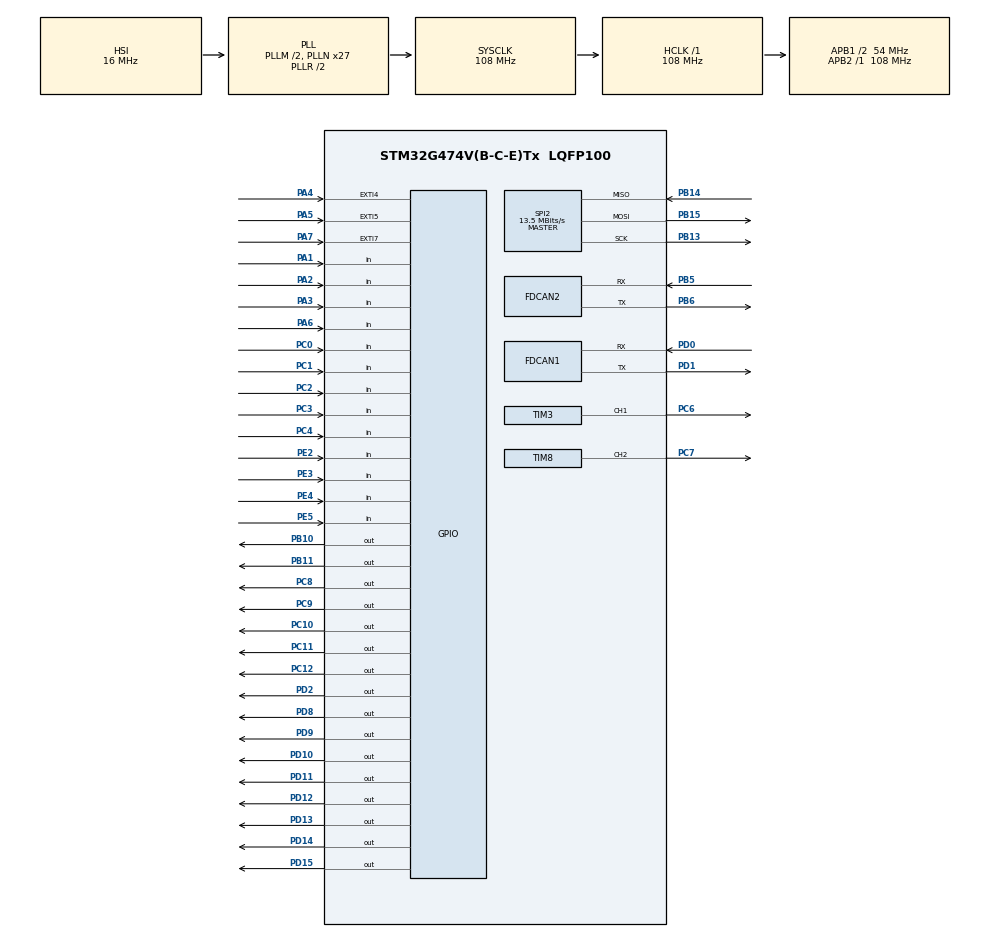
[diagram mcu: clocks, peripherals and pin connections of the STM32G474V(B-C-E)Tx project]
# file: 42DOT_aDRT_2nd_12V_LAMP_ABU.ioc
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FDCAN1.NominalPrescaler=6
FDCAN1.NominalTimeSeg1=15
FDCAN1.StdFiltersNbr=0
FDCAN2.NominalPrescaler=6
FDCAN2.NominalTimeSeg1=15
FDCAN2.StdFiltersNbr=1
Mcu.Family=STM32G4
Mcu.Name=STM32G474V(B-C-E)Tx
Mcu.Package=LQFP100
NVIC.FDCAN1_IT0_IRQn=true\:0\:0\:false\:false\:true\:true\:true
NVIC.FDCAN1_IT1_IRQn=true\:0\:0\:false\:false\:true\:true\:true
NVIC.FDCAN2_IT0_IRQn=true\:0\:0\:false\:false\:true\:true\:true
NVIC.PriorityGroup=NVIC_PRIORITYGROUP_4
NVIC.RTC_WKUP_IRQn=true\:0\:0\:false\:false\:true\:true\:true
NVIC.SPI2_IRQn=true\:1\:0\:true\:false\:true\:true\:true
NVIC.TIM6_DAC_IRQn=true\:1\:0\:true\:false\:true\:true\:true
PA1.Signal=GPIO_Input
PA13.Mode=JTAG_4_pins
PA13.Signal=SYS_JTMS-SWDIO
PA14.Mode=JTAG_4_pins
PA14.Signal=SYS_JTCK-SWCLK
PA15.Mode=JTAG_4_pins
PA15.Signal=SYS_JTDI
PA2.Signal=GPIO_Input
PA3.Signal=GPIO_Input
PA4.GPIO_ModeDefaultEXTI=GPIO_MODE_EVT_RISING_FALLING
PA4.Signal=GPXTI4
PA5.GPIO_ModeDefaultEXTI=GPIO_MODE_EVT_RISING_FALLING
PA5.Signal=GPXTI5
PA6.Signal=GPIO_Input
PA7.GPIO_ModeDefaultEXTI=GPIO_MODE_EVT_RISING
PA7.Signal=GPXTI7
PB10.Signal=GPIO_Output
PB11.Signal=GPIO_Output
PB13.Mode=Full_Duplex_Master
PB13.Signal=SPI2_SCK
PB14.Mode=Full_Duplex_Master
PB14.Signal=SPI2_MISO
PB15.Mode=Full_Duplex_Master
PB15.Signal=SPI2_MOSI
PB3.Mode=JTAG_4_pins
PB3.Signal=SYS_JTDO-SWO
PB5.Mode=FDCAN_Activate
PB5.Signal=FDCAN2_RX
PB6.Mode=FDCAN_Activate
PB6.Signal=FDCAN2_TX
PC0.Signal=GPIO_Input
PC1.Signal=GPIO_Input
PC10.Signal=GPIO_Output
PC11.Signal=GPIO_Output
PC12.Signal=GPIO_Output
PC2.Signal=GPIO_Input
PC3.Signal=GPIO_Input
PC4.Signal=GPIO_Input
PC6.Signal=S_TIM3_CH1
PC7.Signal=S_TIM8_CH2
PC8.Signal=GPIO_Output
PC9.Signal=GPIO_Output
PD0.Mode=FDCAN_Activate
PD0.Signal=FDCAN1_RX
PD1.Mode=FDCAN_Activate
PD1.Signal=FDCAN1_TX
PD10.Signal=GPIO_Output
PD11.Signal=GPIO_Output
PD12.Signal=GPIO_Output
PD13.Signal=GPIO_Output
PD14.Signal=GPIO_Output
PD15.Signal=GPIO_Output
PD2.Signal=GPIO_Output
PD8.Signal=GPIO_Output
PD9.Signal=GPIO_Output
PE2.Signal=GPIO_Input
PE3.Signal=GPIO_Input
PE4.Signal=GPIO_Input
PE5.Signal=GPIO_Input
ProjectManager.HeapSize=0x200
ProjectManager.StackSize=0x400
ProjectManager.TargetToolchain=STM32CubeIDE
RCC.ADC12Freq_Value=108000000
RCC.ADC345Freq_Value=108000000
RCC.AHBFreq_Value=108000000
RCC.APB1CLKDivider=RCC_HCLK_DIV2
RCC.APB1Freq_Value=54000000
RCC.APB1TimFreq_Value=108000000
RCC.APB2Freq_Value=108000000
RCC.APB2TimFreq_Value=108000000
RCC.CortexFreq_Value=108000000
RCC.EXTERNAL_CLOCK_VALUE=12288000
RCC.HCLKFreq_Value=108000000
RCC.HSE_VALUE=8000000
RCC.HSI48_VALUE=48000000
RCC.HSI_VALUE=16000000
RCC.LSE_VALUE=32768
RCC.PLLM=RCC_PLLM_DIV2
RCC.PLLN=27
RCC.SYSCLKFreq_VALUE=108000000
RCC.SYSCLKSource=RCC_SYSCLKSOURCE_PLLCLK
RCC.USBFreq_Value=108000000
RCC.VCOOutputFreq_Value=216000000
SH.S_TIM3_CH1.0=TIM3_CH1,PWM Generation1 CH1
SH.S_TIM8_CH2.0=TIM8_CH2,PWM Generation2 CH2
SPI2.BaudRatePrescaler=SPI_BAUDRATEPRESCALER_4
SPI2.CLKPhase=SPI_PHASE_2EDGE
SPI2.CalculateBaudRate=13.5 MBits/s
SPI2.DataSize=SPI_DATASIZE_16BIT
SPI2.Direction=SPI_DIRECTION_2LINES
SPI2.Mode=SPI_MODE_MASTER
SPI2.VirtualType=VM_MASTER
TIM3.Channel-PWM\ Generation1\ CH1=TIM_CHANNEL_1
TIM3.PeriodNoDither=1000-1
TIM3.Prescaler=14000-1
TIM3.PulseNoDither_1=500
TIM6.PeriodNoDither=200-1
TIM6.Prescaler=1080-1
TIM8.Channel-PWM\ Generation2\ CH2=TIM_CHANNEL_2
TIM8.PeriodNoDither=1000-1
TIM8.Prescaler=14000-1
TIM8.PulseNoDither_2=500
VP_RTC_VS_RTC_Activate.Mode=RTC_Enabled
VP_RTC_VS_RTC_WakeUp_intern.Mode=WakeUp
VP_SYS_VS_DBSignals.Mode=DisableDeadBatterySignals
VP_TIM6_VS_ClockSourceINT.Mode=Enable_Timer
board=custom

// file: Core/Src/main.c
/* USER CODE BEGIN Header */
/**
  ******************************************************************************
  * @file           : main.c
  * @brief          : Main program body
  ******************************************************************************
  * @attention
  *
  * <h2><center>&copy; Copyright (c) 2021 STMicroelectronics.
  * All rights reserved.</center></h2>
  *
  * This software component is licensed by ST under BSD 3-Clause license,
  * the "License"; You may not use this file except in compliance with the
  * License. You may obtain a copy of the License at:
  *                        opensource.org/licenses/BSD-3-Clause
  *
  ******************************************************************************
  */
/* USER CODE END Header */
#include "main.h"

/* USER CODE BEGIN PD */
#define ADC_DUMMY               0
#define SPI_TIMEOUT_CNT			100

#define ADC_CH1_ENABLE			0xC0
#define ADC_CH2_ENABLE			0xC4
#define ADC_CH3_ENABLE			0xC8
#define ADC_CH4_ENABLE			0xCC

/* USER CODE END PD */

FDCAN_HandleTypeDef hfdcan1;
FDCAN_HandleTypeDef hfdcan2;

RTC_HandleTypeDef hrtc;

SPI_HandleTypeDef hspi2;

TIM_HandleTypeDef htim3;
TIM_HandleTypeDef htim6;
TIM_HandleTypeDef htim8;

/* USER CODE BEGIN PV */
FDCAN_FilterTypeDef can1_filter;
FDCAN_FilterTypeDef can2_filter;

uint8_t spi2_rx_data[8];
uint8_t spi2_tx_data[8];

/* USER CODE END PV */

void SystemClock_Config(void);
static void MX_GPIO_Init(void);
static void MX_TIM6_Init(void);
static void MX_TIM3_Init(void);
static void MX_SPI2_Init(void);
static void MX_TIM8_Init(void);
static void MX_RTC_Init(void);
static void MX_FDCAN1_Init(void);
static void MX_FDCAN2_Init(void);

/* USER CODE BEGIN 0 */
uint8_t torque_air_data[8];		// ? SSibal

/* USER CODE END 0 */

int main(void)
{

  /* MCU Configuration--------------------------------------------------------*/

  /* Reset of all peripherals, Initializes the Flash interface and the Systick. */
  HAL_Init();

  /* Configure the system clock */
  SystemClock_Config();

  /* Initialize all configured peripherals */
  MX_GPIO_Init();
  MX_TIM6_Init();
  MX_TIM3_Init();
  MX_SPI2_Init();
  MX_TIM8_Init();
  MX_RTC_Init();
  MX_FDCAN1_Init();
  MX_FDCAN2_Init();

  /* USER CODE BEGIN 2 */
  HAL_GPIO_WritePin(GPIOB, GPIO_PIN_11, SET);		// SET /RST(ADC IC) 1 (Deactivate)
  HAL_TIM_Base_Start_IT(&htim6);

  romdata = *((__IO uint32_t*)(FlashRead(FLASH_START_ADDR_CNT, 0)));

//  HAL_GPIO_WritePin(GPIOD, GPIO_PIN_2, SET);
//  convertor_status = 1;
  /* USER CODE END 2 */

  /* Infinite loop */
  /* USER CODE BEGIN WHILE */
  while (1)
  {
	  if( stop_enable == 1 ) {
		  stop_enable = 0;
		  StopModeStart();

	  }

    /* USER CODE END WHILE */

  }
}

void SystemClock_Config(void)
{
  RCC_OscInitTypeDef RCC_OscInitStruct = {0};
  RCC_ClkInitTypeDef RCC_ClkInitStruct = {0};
  RCC_PeriphCLKInitTypeDef PeriphClkInit = {0};

  /** Configure the main internal regulator output voltage
  */
  HAL_PWREx_ControlVoltageScaling(PWR_REGULATOR_VOLTAGE_SCALE1);
  /** Initializes the RCC Oscillators according to the specified parameters
  * in the RCC_OscInitTypeDef structure.
  */
  RCC_OscInitStruct.OscillatorType = RCC_OSCILLATORTYPE_HSI|RCC_OSCILLATORTYPE_LSI;
  RCC_OscInitStruct.HSIState = RCC_HSI_ON;
  RCC_OscInitStruct.HSICalibrationValue = RCC_HSICALIBRATION_DEFAULT;
  RCC_OscInitStruct.LSIState = RCC_LSI_ON;
  RCC_OscInitStruct.PLL.PLLState = RCC_PLL_ON;
  RCC_OscInitStruct.PLL.PLLSource = RCC_PLLSOURCE_HSI;
  RCC_OscInitStruct.PLL.PLLM = RCC_PLLM_DIV2;
  RCC_OscInitStruct.PLL.PLLN = 27;
  RCC_OscInitStruct.PLL.PLLP = RCC_PLLP_DIV2;
  RCC_OscInitStruct.PLL.PLLQ = RCC_PLLQ_DIV2;
  RCC_OscInitStruct.PLL.PLLR = RCC_PLLR_DIV2;
  if (HAL_RCC_OscConfig(&RCC_OscInitStruct) != HAL_OK)
  {
    Error_Handler();
  }
  /** Initializes the CPU, AHB and APB buses clocks
  */
  RCC_ClkInitStruct.ClockType = RCC_CLOCKTYPE_HCLK|RCC_CLOCKTYPE_SYSCLK
                              |RCC_CLOCKTYPE_PCLK1|RCC_CLOCKTYPE_PCLK2;
  RCC_ClkInitStruct.SYSCLKSource = RCC_SYSCLKSOURCE_PLLCLK;
  RCC_ClkInitStruct.AHBCLKDivider = RCC_SYSCLK_DIV1;
  RCC_ClkInitStruct.APB1CLKDivider = RCC_HCLK_DIV2;
  RCC_ClkInitStruct.APB2CLKDivider = RCC_HCLK_DIV1;

  if (HAL_RCC_ClockConfig(&RCC_ClkInitStruct, FLASH_LATENCY_3) != HAL_OK)
  {
    Error_Handler();
  }
  /** Initializes the peripherals clocks
  */
  PeriphClkInit.PeriphClockSelection = RCC_PERIPHCLK_RTC|RCC_PERIPHCLK_FDCAN;
  PeriphClkInit.FdcanClockSelection = RCC_FDCANCLKSOURCE_PCLK1;
  PeriphClkInit.RTCClockSelection = RCC_RTCCLKSOURCE_LSI;
  if (HAL_RCCEx_PeriphCLKConfig(&PeriphClkInit) != HAL_OK)
  {
    Error_Handler();
  }
}

static void MX_FDCAN1_Init(void)
{

  hfdcan1.Instance = FDCAN1;
  hfdcan1.Init.ClockDivider = FDCAN_CLOCK_DIV1;
  hfdcan1.Init.FrameFormat = FDCAN_FRAME_CLASSIC;
  hfdcan1.Init.Mode = FDCAN_MODE_NORMAL;
  hfdcan1.Init.AutoRetransmission = DISABLE;
  hfdcan1.Init.TransmitPause = DISABLE;
  hfdcan1.Init.ProtocolException = DISABLE;
  hfdcan1.Init.NominalPrescaler = 6;
  hfdcan1.Init.NominalSyncJumpWidth = 1;
  hfdcan1.Init.NominalTimeSeg1 = 15;
  hfdcan1.Init.NominalTimeSeg2 = 2;
  hfdcan1.Init.DataPrescaler = 1;
  hfdcan1.Init.DataSyncJumpWidth = 1;
  hfdcan1.Init.DataTimeSeg1 = 1;
  hfdcan1.Init.DataTimeSeg2 = 1;
  hfdcan1.Init.StdFiltersNbr = 0;
  hfdcan1.Init.ExtFiltersNbr = 0;
  hfdcan1.Init.TxFifoQueueMode = FDCAN_TX_FIFO_OPERATION;
  if (HAL_FDCAN_Init(&hfdcan1) != HAL_OK)
  {
    Error_Handler();
  }
  /* USER CODE BEGIN FDCAN1_Init 2 */

  can1_filter.IdType = FDCAN_STANDARD_ID;
  can1_filter.FilterType = FDCAN_FILTER_MASK;
  can1_filter.FilterIndex = 0;
  can1_filter.FilterID1 = 0x000;
  can1_filter.FilterID2 = 0x7FF;
  can1_filter.FilterConfig = FDCAN_FILTER_TO_RXFIFO0;

  if( HAL_FDCAN_ConfigFilter(&hfdcan1, &can1_filter) != HAL_OK ) {
	  Error_Handler();
  }
#if 0
  if(HAL_FDCAN_ConfigGlobalFilter(&hfdcan1, FDCAN_REJECT, FDCAN_REJECT, FDCAN_FILTER_REMOTE, FDCAN_FILTER_REMOTE) != HAL_OK) {
	  Error_Handler();
  }
#else
#if 0
  if( HAL_FDCAN_ActivateNotification(&hfdcan1, FDCAN_INTERRUPT_LINE0, FDCAN_TX_BUFFER0 | FDCAN_TX_BUFFER1 | FDCAN_TX_BUFFER2) != HAL_OK ) {
 	  Error_Handler();
   }
#endif
#endif

  if( HAL_FDCAN_ActivateNotification(&hfdcan1, FDCAN_IT_RX_FIFO0_NEW_MESSAGE, 0) != HAL_OK ) {
	  Error_Handler();
  }

  if( HAL_FDCAN_Start(&hfdcan1) != HAL_OK ) {
	  Error_Handler();
  }

  /* USER CODE END FDCAN1_Init 2 */

}

static void MX_FDCAN2_Init(void)
{

  hfdcan2.Instance = FDCAN2;
  hfdcan2.Init.FrameFormat = FDCAN_FRAME_CLASSIC;
  hfdcan2.Init.Mode = FDCAN_MODE_NORMAL;
  hfdcan2.Init.AutoRetransmission = DISABLE;
  hfdcan2.Init.TransmitPause = DISABLE;
  hfdcan2.Init.ProtocolException = DISABLE;
  hfdcan2.Init.NominalPrescaler = 6;
  hfdcan2.Init.NominalSyncJumpWidth = 1;
  hfdcan2.Init.NominalTimeSeg1 = 15;
  hfdcan2.Init.NominalTimeSeg2 = 2;
  hfdcan2.Init.DataPrescaler = 1;
  hfdcan2.Init.DataSyncJumpWidth = 1;
  hfdcan2.Init.DataTimeSeg1 = 1;
  hfdcan2.Init.DataTimeSeg2 = 1;
  hfdcan2.Init.StdFiltersNbr = 1;
  hfdcan2.Init.ExtFiltersNbr = 0;
  hfdcan2.Init.TxFifoQueueMode = FDCAN_TX_FIFO_OPERATION;
  if (HAL_FDCAN_Init(&hfdcan2) != HAL_OK)
  {
    Error_Handler();
  }
  /* USER CODE BEGIN FDCAN2_Init 2 */
  can2_filter.IdType = FDCAN_STANDARD_ID;
  can2_filter.FilterType = FDCAN_FILTER_MASK;
  can2_filter.FilterIndex = 0;
  can2_filter.FilterID1 = 0x000;
  can2_filter.FilterID2 = 0x000;
  can2_filter.FilterConfig = FDCAN_FILTER_TO_RXFIFO0;

  if( HAL_FDCAN_ConfigFilter(&hfdcan2, &can2_filter) != HAL_OK ) {
	  Error_Handler();
  }

  if(HAL_FDCAN_ConfigGlobalFilter(&hfdcan2, FDCAN_REJECT, FDCAN_REJECT, FDCAN_FILTER_REMOTE, FDCAN_FILTER_REMOTE) != HAL_OK) {
	  Error_Handler();
  }

  if( HAL_FDCAN_ActivateNotification(&hfdcan2, FDCAN_IT_RX_FIFO0_NEW_MESSAGE, 0) != HAL_OK ) {
	  Error_Handler();
  }

  if( HAL_FDCAN_Start(&hfdcan2) != HAL_OK ) {
	  Error_Handler();
  }
  /* USER CODE END FDCAN2_Init 2 */

}

static void MX_RTC_Init(void)
{

  /** Initialize RTC Only
  */
  hrtc.Instance = RTC;
  hrtc.Init.HourFormat = RTC_HOURFORMAT_24;
  hrtc.Init.AsynchPrediv = 127;
  hrtc.Init.SynchPrediv = 255;
  hrtc.Init.OutPut = RTC_OUTPUT_DISABLE;
  hrtc.Init.OutPutRemap = RTC_OUTPUT_REMAP_NONE;
  hrtc.Init.OutPutPolarity = RTC_OUTPUT_POLARITY_HIGH;
  hrtc.Init.OutPutType = RTC_OUTPUT_TYPE_OPENDRAIN;
  hrtc.Init.OutPutPullUp = RTC_OUTPUT_PULLUP_NONE;
  if (HAL_RTC_Init(&hrtc) != HAL_OK)
  {
    Error_Handler();
  }
  /** Enable the WakeUp
  */
  if (HAL_RTCEx_SetWakeUpTimer_IT(&hrtc, 0, RTC_WAKEUPCLOCK_RTCCLK_DIV16) != HAL_OK)
  {
    Error_Handler();
  }

}

static void MX_SPI2_Init(void)
{

  /* SPI2 parameter configuration*/
  hspi2.Instance = SPI2;
  hspi2.Init.Mode = SPI_MODE_MASTER;
  hspi2.Init.Direction = SPI_DIRECTION_2LINES;
  hspi2.Init.DataSize = SPI_DATASIZE_16BIT;
  hspi2.Init.CLKPolarity = SPI_POLARITY_LOW;
  hspi2.Init.CLKPhase = SPI_PHASE_2EDGE;
  hspi2.Init.NSS = SPI_NSS_SOFT;
  hspi2.Init.BaudRatePrescaler = SPI_BAUDRATEPRESCALER_4;
  hspi2.Init.FirstBit = SPI_FIRSTBIT_MSB;
  hspi2.Init.TIMode = SPI_TIMODE_DISABLE;
  hspi2.Init.CRCCalculation = SPI_CRCCALCULATION_DISABLE;
  hspi2.Init.CRCPolynomial = 7;
  hspi2.Init.CRCLength = SPI_CRC_LENGTH_DATASIZE;
  hspi2.Init.NSSPMode = SPI_NSS_PULSE_DISABLE;
  if (HAL_SPI_Init(&hspi2) != HAL_OK)
  {
    Error_Handler();
  }

}

static void MX_TIM3_Init(void)
{

  TIM_MasterConfigTypeDef sMasterConfig = {0};
  TIM_OC_InitTypeDef sConfigOC = {0};

  htim3.Instance = TIM3;
  htim3.Init.Prescaler = 14000-1;
  htim3.Init.CounterMode = TIM_COUNTERMODE_UP;
  htim3.Init.Period = 999;
  htim3.Init.ClockDivision = TIM_CLOCKDIVISION_DIV1;
  htim3.Init.AutoReloadPreload = TIM_AUTORELOAD_PRELOAD_DISABLE;
  if (HAL_TIM_PWM_Init(&htim3) != HAL_OK)
  {
    Error_Handler();
  }
  sMasterConfig.MasterOutputTrigger = TIM_TRGO_RESET;
  sMasterConfig.MasterSlaveMode = TIM_MASTERSLAVEMODE_DISABLE;
  if (HAL_TIMEx_MasterConfigSynchronization(&htim3, &sMasterConfig) != HAL_OK)
  {
    Error_Handler();
  }
  sConfigOC.OCMode = TIM_OCMODE_PWM1;
  sConfigOC.Pulse = 500;
  sConfigOC.OCPolarity = TIM_OCPOLARITY_HIGH;
  sConfigOC.OCFastMode = TIM_OCFAST_DISABLE;
  if (HAL_TIM_PWM_ConfigChannel(&htim3, &sConfigOC, TIM_CHANNEL_1) != HAL_OK)
  {
    Error_Handler();
  }
  HAL_TIM_MspPostInit(&htim3);

}

static void MX_TIM6_Init(void)
{

  TIM_MasterConfigTypeDef sMasterConfig = {0};

  htim6.Instance = TIM6;
  htim6.Init.Prescaler = 1080-1;
  htim6.Init.CounterMode = TIM_COUNTERMODE_UP;
  htim6.Init.Period = 199;
  htim6.Init.AutoReloadPreload = TIM_AUTORELOAD_PRELOAD_DISABLE;
  if (HAL_TIM_Base_Init(&htim6) != HAL_OK)
  {
    Error_Handler();
  }
  sMasterConfig.MasterOutputTrigger = TIM_TRGO_RESET;
  sMasterConfig.MasterSlaveMode = TIM_MASTERSLAVEMODE_DISABLE;
  if (HAL_TIMEx_MasterConfigSynchronization(&htim6, &sMasterConfig) != HAL_OK)
  {
    Error_Handler();
  }

}

static void MX_TIM8_Init(void)
{

  TIM_MasterConfigTypeDef sMasterConfig = {0};
  TIM_OC_InitTypeDef sConfigOC = {0};
  TIM_BreakDeadTimeConfigTypeDef sBreakDeadTimeConfig = {0};

  htim8.Instance = TIM8;
  htim8.Init.Prescaler = 14000-1;
  htim8.Init.CounterMode = TIM_COUNTERMODE_UP;
  htim8.Init.Period = 999;
  htim8.Init.ClockDivision = TIM_CLOCKDIVISION_DIV1;
  htim8.Init.RepetitionCounter = 0;
  htim8.Init.AutoReloadPreload = TIM_AUTORELOAD_PRELOAD_DISABLE;
  if (HAL_TIM_PWM_Init(&htim8) != HAL_OK)
  {
    Error_Handler();
  }
  sMasterConfig.MasterOutputTrigger = TIM_TRGO_RESET;
  sMasterConfig.MasterOutputTrigger2 = TIM_TRGO2_RESET;
  sMasterConfig.MasterSlaveMode = TIM_MASTERSLAVEMODE_DISABLE;
  if (HAL_TIMEx_MasterConfigSynchronization(&htim8, &sMasterConfig) != HAL_OK)
  {
    Error_Handler();
  }
  sConfigOC.OCMode = TIM_OCMODE_PWM1;
  sConfigOC.Pulse = 500;
  sConfigOC.OCPolarity = TIM_OCPOLARITY_HIGH;
  sConfigOC.OCNPolarity = TIM_OCNPOLARITY_HIGH;
  sConfigOC.OCFastMode = TIM_OCFAST_DISABLE;
  sConfigOC.OCIdleState = TIM_OCIDLESTATE_RESET;
  sConfigOC.OCNIdleState = TIM_OCNIDLESTATE_RESET;
  if (HAL_TIM_PWM_ConfigChannel(&htim8, &sConfigOC, TIM_CHANNEL_2) != HAL_OK)
  {
    Error_Handler();
  }
  sBreakDeadTimeConfig.OffStateRunMode = TIM_OSSR_DISABLE;
  sBreakDeadTimeConfig.OffStateIDLEMode = TIM_OSSI_DISABLE;
  sBreakDeadTimeConfig.LockLevel = TIM_LOCKLEVEL_OFF;
  sBreakDeadTimeConfig.DeadTime = 0;
  sBreakDeadTimeConfig.BreakState = TIM_BREAK_DISABLE;
  sBreakDeadTimeConfig.BreakPolarity = TIM_BREAKPOLARITY_HIGH;
  sBreakDeadTimeConfig.BreakFilter = 0;
  sBreakDeadTimeConfig.BreakAFMode = TIM_BREAK_AFMODE_INPUT;
  sBreakDeadTimeConfig.Break2State = TIM_BREAK2_DISABLE;
  sBreakDeadTimeConfig.Break2Polarity = TIM_BREAK2POLARITY_HIGH;
  sBreakDeadTimeConfig.Break2Filter = 0;
  sBreakDeadTimeConfig.Break2AFMode = TIM_BREAK_AFMODE_INPUT;
  sBreakDeadTimeConfig.AutomaticOutput = TIM_AUTOMATICOUTPUT_DISABLE;
  if (HAL_TIMEx_ConfigBreakDeadTime(&htim8, &sBreakDeadTimeConfig) != HAL_OK)
  {
    Error_Handler();
  }
  HAL_TIM_MspPostInit(&htim8);

}

static void MX_GPIO_Init(void)
{
  GPIO_InitTypeDef GPIO_InitStruct = {0};

  /* GPIO Ports Clock Enable */
  __HAL_RCC_GPIOE_CLK_ENABLE();
  __HAL_RCC_GPIOC_CLK_ENABLE();
  __HAL_RCC_GPIOA_CLK_ENABLE();
  __HAL_RCC_GPIOB_CLK_ENABLE();
  __HAL_RCC_GPIOD_CLK_ENABLE();

  /*Configure GPIO pin Output Level */
  HAL_GPIO_WritePin(GPIOB, GPIO_PIN_10|GPIO_PIN_11, GPIO_PIN_RESET);

  /*Configure GPIO pin Output Level */
  HAL_GPIO_WritePin(GPIOD, GPIO_PIN_8|GPIO_PIN_9|GPIO_PIN_10|GPIO_PIN_11
                          |GPIO_PIN_12|GPIO_PIN_13|GPIO_PIN_14|GPIO_PIN_15
                          |GPIO_PIN_2, GPIO_PIN_RESET);

  /*Configure GPIO pin Output Level */
  HAL_GPIO_WritePin(GPIOC, GPIO_PIN_8|GPIO_PIN_9|GPIO_PIN_10|GPIO_PIN_11
                          |GPIO_PIN_12, GPIO_PIN_RESET);

  /*Configure GPIO pins : PE2 PE3 PE4 PE5 */
  GPIO_InitStruct.Pin = GPIO_PIN_2|GPIO_PIN_3|GPIO_PIN_4|GPIO_PIN_5;
  GPIO_InitStruct.Mode = GPIO_MODE_INPUT;
  GPIO_InitStruct.Pull = GPIO_NOPULL;
  HAL_GPIO_Init(GPIOE, &GPIO_InitStruct);

  /*Configure GPIO pins : PC0 PC1 PC2 PC3
                           PC4 */
  GPIO_InitStruct.Pin = GPIO_PIN_0|GPIO_PIN_1|GPIO_PIN_2|GPIO_PIN_3
                          |GPIO_PIN_4;
  GPIO_InitStruct.Mode = GPIO_MODE_INPUT;
  GPIO_InitStruct.Pull = GPIO_NOPULL;
  HAL_GPIO_Init(GPIOC, &GPIO_InitStruct);

  /*Configure GPIO pins : PA1 PA2 PA3 PA6 */
  GPIO_InitStruct.Pin = GPIO_PIN_1|GPIO_PIN_2|GPIO_PIN_3|GPIO_PIN_6;
  GPIO_InitStruct.Mode = GPIO_MODE_INPUT;
  GPIO_InitStruct.Pull = GPIO_NOPULL;
  HAL_GPIO_Init(GPIOA, &GPIO_InitStruct);

  /*Configure GPIO pins : PA4 PA5 */
  GPIO_InitStruct.Pin = GPIO_PIN_4|GPIO_PIN_5;
  GPIO_InitStruct.Mode = GPIO_MODE_EVT_RISING_FALLING;
  GPIO_InitStruct.Pull = GPIO_NOPULL;
  HAL_GPIO_Init(GPIOA, &GPIO_InitStruct);

  /*Configure GPIO pin : PA7 */
  GPIO_InitStruct.Pin = GPIO_PIN_7;
  GPIO_InitStruct.Mode = GPIO_MODE_EVT_RISING;
  GPIO_InitStruct.Pull = GPIO_NOPULL;
  HAL_GPIO_Init(GPIOA, &GPIO_InitStruct);

  /*Configure GPIO pins : PB10 PB11 */
  GPIO_InitStruct.Pin = GPIO_PIN_10|GPIO_PIN_11;
  GPIO_InitStruct.Mode = GPIO_MODE_OUTPUT_PP;
  GPIO_InitStruct.Pull = GPIO_NOPULL;
  GPIO_InitStruct.Speed = GPIO_SPEED_FREQ_LOW;
  HAL_GPIO_Init(GPIOB, &GPIO_InitStruct);

  /*Configure GPIO pins : PD8 PD9 PD10 PD11
                           PD12 PD13 PD14 PD15
                           PD2 */
  GPIO_InitStruct.Pin = GPIO_PIN_8|GPIO_PIN_9|GPIO_PIN_10|GPIO_PIN_11
                          |GPIO_PIN_12|GPIO_PIN_13|GPIO_PIN_14|GPIO_PIN_15
                          |GPIO_PIN_2;
  GPIO_InitStruct.Mode = GPIO_MODE_OUTPUT_PP;
  GPIO_InitStruct.Pull = GPIO_NOPULL;
  GPIO_InitStruct.Speed = GPIO_SPEED_FREQ_LOW;
  HAL_GPIO_Init(GPIOD, &GPIO_InitStruct);

  /*Configure GPIO pins : PC8 PC9 PC10 PC11
                           PC12 */
  GPIO_InitStruct.Pin = GPIO_PIN_8|GPIO_PIN_9|GPIO_PIN_10|GPIO_PIN_11
                          |GPIO_PIN_12;
  GPIO_InitStruct.Mode = GPIO_MODE_OUTPUT_PP;
  GPIO_InitStruct.Pull = GPIO_NOPULL;
  GPIO_InitStruct.Speed = GPIO_SPEED_FREQ_LOW;
  HAL_GPIO_Init(GPIOC, &GPIO_InitStruct);

}

/* USER CODE BEGIN 4 */
void CurrentDataReceive(void)
{
#if 0
	static uint8_t spi_cmd_num = 0;
	static float turn_left_curr_f;
	static float turn_right_curr_f;
	static float ch3_volt_f = 0;
	static float ch4_volt_f = 0;

	if( ++spi_cmd_num == 1 ) {
		spi2_tx_data[0] = 0x00;
		spi2_tx_data[1] = ADC_CH1_ENABLE;			// CH1 Read
	} else if( spi_cmd_num == 2 ) {
		spi2_tx_data[0] = 0x00;
		spi2_tx_data[1] = ADC_CH2_ENABLE;			// CH2 Read
	}
	else if( spi_cmd_num == 3 ) {
		spi2_tx_data[0] = 0x00;
		spi2_tx_data[1] = ADC_CH3_ENABLE;			// CH3 Read
	} else if( spi_cmd_num == 4 ) {
		spi2_tx_data[0] = 0x00;
		spi2_tx_data[1] = ADC_CH4_ENABLE;			// CH4 Read
	}

	HAL_GPIO_WritePin(GPIOB, GPIO_PIN_10, GPIO_PIN_RESET);		// SET /CS 0 (Active)
	HAL_SPI_TransmitReceive(&hspi2, spi2_tx_data, spi2_rx_data, 8, 100);
	HAL_GPIO_WritePin(GPIOB, GPIO_PIN_10, GPIO_PIN_SET);		// SET /CS 1 (Deactivate)

	/*
	 * 0V = 0x7FFD(32765), 5V = 0xB3B0(46000)
	 */
	if( spi_cmd_num == 1 ) {
		ch4_volt_f = (spi2_rx_data[2]) | (spi2_rx_data[3]<<8);
		ch4_volt_f = (ch4_volt_f-32765) / 13235 * 5 * 1000;
	} else if( spi_cmd_num == 2 ) {
		turn_left_curr_f = (spi2_rx_data[2]) | (spi2_rx_data[3]<<8);
		turn_left_curr_f = (turn_left_curr_f-32765) / 13235 * 5 * 1000;
	}
	else if( spi_cmd_num == 3 ) {
		turn_right_curr_f = (spi2_rx_data[2]) | (spi2_rx_data[3]<<8);
		turn_right_curr_f = (turn_right_curr_f-32765) / 13235 * 5 * 1000;
	} else if( spi_cmd_num == 4 ) {
		spi_cmd_num = 0;
		ch3_volt_f = (spi2_rx_data[2]) | (spi2_rx_data[3]<<8);
		ch3_volt_f = (ch3_volt_f-32765) / 13235 * 5 * 1000;
	}

	turn_left_curr = (uint16_t)turn_left_curr_f;
	turn_right_curr = (uint16_t)turn_right_curr_f;
#else
	float turn_left_curr_f;
	float turn_right_curr_f;

	spi2_tx_data[0] = ADC_DUMMY;
	spi2_tx_data[1] = ADC_CH1_ENABLE;			// CH1 Read

	HAL_GPIO_WritePin(GPIOB, GPIO_PIN_10, GPIO_PIN_RESET);		// SET /CS 0 (Active)
	HAL_SPI_TransmitReceive(&hspi2, spi2_tx_data, spi2_rx_data, 8, 100);
	HAL_GPIO_WritePin(GPIOB, GPIO_PIN_10, GPIO_PIN_SET);		// SET /CS 1 (Deactivate)

	turn_right_curr_f = (spi2_rx_data[2]) | (spi2_rx_data[3]<<8);
	turn_right_curr_f = (turn_right_curr_f-32765) / 13235 * 5 * 1000;

	spi2_tx_data[0] = ADC_DUMMY;
	spi2_tx_data[1] = ADC_CH2_ENABLE;			// CH2 Read

	HAL_GPIO_WritePin(GPIOB, GPIO_PIN_10, GPIO_PIN_RESET);		// SET /CS 0 (Active)
	HAL_SPI_TransmitReceive(&hspi2, spi2_tx_data, spi2_rx_data, 8, 100);
	HAL_GPIO_WritePin(GPIOB, GPIO_PIN_10, GPIO_PIN_SET);		// SET /CS 1 (Deactivate)

	turn_left_curr_f = (spi2_rx_data[2]) | (spi2_rx_data[3]<<8);
	turn_left_curr_f = (turn_left_curr_f-32765) / 13235 * 5 * 1000;

	turn_left_curr = (uint16_t)turn_left_curr_f;
	turn_right_curr = (uint16_t)turn_right_curr_f;

	if( Lamp_Status.turn_lamp_left == 1 ) {
		if( ++turn_lamp_left_delay_cnt > 2 ) {
			if( turn_left_curr < 1000 ) {
				if( ++turn_lamp_left_fail_cnt > 3 ) {
//					turn_lamp_left_fail = 1;
				}
			}
		}
	} else if( (Input_Status.turnlamp_LH==0) && (hazard_sw_on==0) ) {
		turn_lamp_left_delay_cnt = turn_lamp_left_fail = turn_lamp_left_fail_cnt = 0;
	} else if( Lamp_Status.turn_lamp_left == 0 ) {
		turn_lamp_left_delay_cnt = 0;
	}

	if( Lamp_Status.turn_lamp_right == 1 ) {
		if( ++turn_lamp_right_delay_cnt > 2 ) {
			turn_lamp_right_delay_cnt = 0;
			if( turn_right_curr < 1000 ) {
				if( ++turn_lamp_right_fail_cnt > 3 ) {
//					turn_lamp_right_fail = 1;
				}
			}
		}
	} else if( (Input_Status.turnlamp_RH==0) && (hazard_sw_on==0) ) {
		turn_lamp_right_delay_cnt = turn_lamp_right_fail = turn_lamp_right_fail_cnt = 0;
	} else if( Lamp_Status.turn_lamp_right == 0 ) {
		turn_lamp_right_delay_cnt = 0;
	}
#endif
}

void StopModeStart()
{
	HAL_SuspendTick();

	__HAL_RCC_PWR_CLK_ENABLE();

	/* Enable the WakeUp
	   32768 / 16 = 2048Hz
	   1Hz = 0.00048828125 sec
	   10sec = 20,480Hz (0x5000)
	 */
//	HAL_RTCEx_SetWakeUpTimer_IT(&hrtc, 0xF000, RTC_WAKEUPCLOCK_RTCCLK_DIV16);	// Wake-up time : 30s
	HAL_RTCEx_SetWakeUpTimer_IT(&hrtc, 0xCC, RTC_WAKEUPCLOCK_RTCCLK_DIV16);	// Wake-up time : 100ms

	HAL_PWR_EnterSTOPMode(0, PWR_SLEEPENTRY_WFE);

	HAL_ResumeTick();

	HAL_RTCEx_DeactivateWakeUpTimer(&hrtc);

	SystemClock_Config();
}
/* USER CODE END 4 */

void Error_Handler(void)
{
  /* USER CODE BEGIN Error_Handler_Debug */
  /* User can add his own implementation to report the HAL error return state */
  __disable_irq();
  NVIC_SystemReset();
  while (1)
  {
  }
  /* USER CODE END Error_Handler_Debug */
}

/************************ (C) COPYRIGHT STMicroelectronics *****END OF FILE****/
